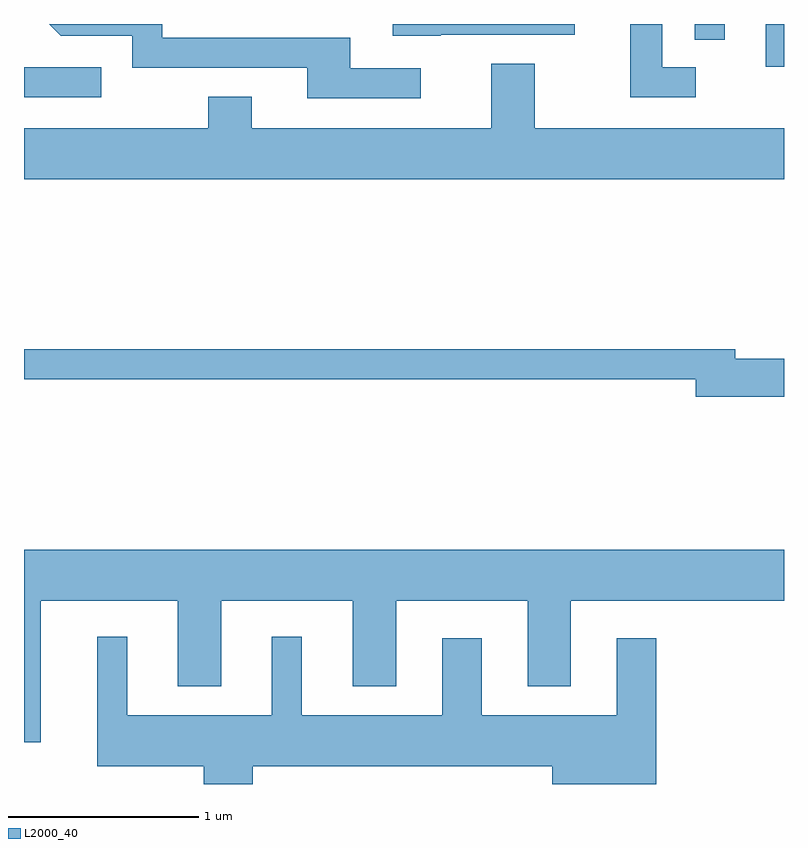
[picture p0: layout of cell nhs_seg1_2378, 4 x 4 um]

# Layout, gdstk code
import gdstk
lib = gdstk.Library(unit=1e-6, precision=1e-09)
def R(c, l, rs):  # rectangles x0, y0, x1, y1
    for r in rs: c.add(gdstk.rectangle(r[:2], r[2:], *l))
def P(c, l, *ps):  # polygons
    for p in ps: c.add(gdstk.Polygon(p, *l))
L2000_40 = (2000, 40)

nhs_seg1_2378 = lib.new_cell('nhs_seg1_2378')
R(nhs_seg1_2378, L2000_40, [(257.611,913.326,258.017,913.484), (261.516,913.486,261.611,913.712), (261.141,913.628,261.299,913.712)])
P(nhs_seg1_2378, L2000_40, [(259.805,913.656),(260.509,913.656),(260.509,913.712),(259.551,913.712),(259.551,913.651),(259.805,913.651)],
  [(259.698,913.479),(259.329,913.479),(259.329,913.639),(258.339,913.639),(258.339,913.712),(257.743,913.712),(257.804,913.651),(258.181,913.651),(258.181,913.481),(259.101,913.481),(259.101,913.321),(259.698,913.321)],
  [(261.147,913.484),(260.969,913.484),(260.969,913.712),(260.801,913.712),(260.801,913.326),(261.147,913.326)],
  [(261.611,913.164),(260.299,913.164),(260.299,913.504),(260.071,913.504),(260.071,913.164),(258.809,913.164),(258.809,913.329),(258.581,913.329),(258.581,913.164),(257.611,913.164),(257.611,912.896),(261.611,912.896)],
  [(261.611,911.949),(261.354,911.949),(261.354,911.999),(257.611,911.999),(257.611,911.841),(261.146,911.841),(261.146,911.751),(261.611,911.751)],
  [(257.699,910.676),(258.421,910.676),(258.421,910.226),(258.649,910.226),(258.649,910.676),(259.341,910.676),(259.341,910.226),(259.569,910.226),(259.569,910.676),(260.261,910.676),(260.261,910.226),(260.489,910.226),(260.489,910.676),(261.611,910.676),(261.611,910.944),(257.611,910.944),(257.611,909.933),(257.699,909.933)],
  [(258.814,909.806),(260.391,909.806),(260.391,909.712),(260.939,909.712),(260.939,910.479),(260.731,910.479),(260.731,910.074),(260.019,910.074),(260.019,910.479),(259.811,910.479),(259.811,910.074),(259.074,910.074),(259.074,910.488),(258.916,910.488),(258.916,910.074),(258.154,910.074),(258.154,910.488),(257.996,910.488),(257.996,909.806),(258.556,909.806),(258.556,909.712),(258.814,909.712)])

lib.write_gds('nhs_seg1_2378.gds')
